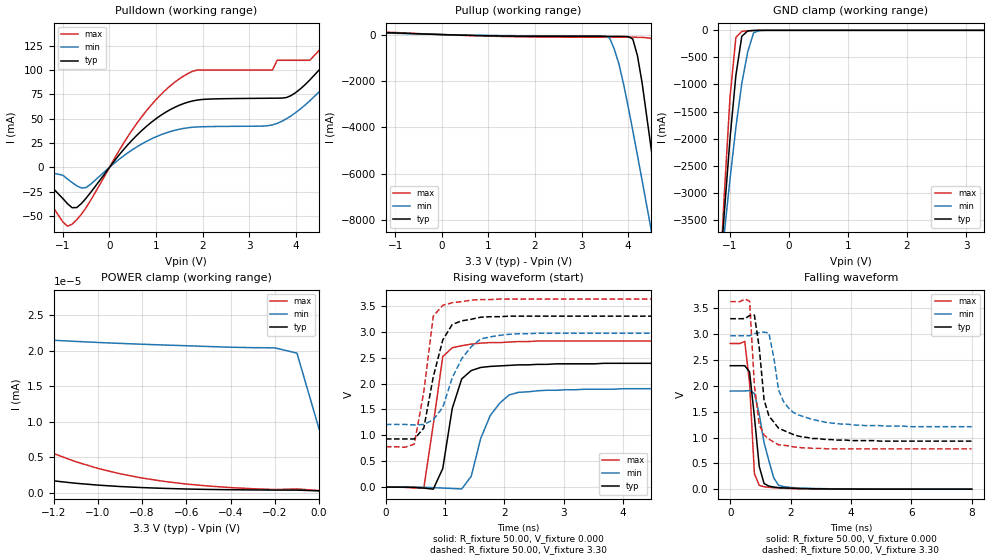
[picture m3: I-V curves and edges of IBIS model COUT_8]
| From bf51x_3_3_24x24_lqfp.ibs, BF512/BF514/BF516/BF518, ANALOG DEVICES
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|   Model prw0408swcdg_25
[Model]   COUT_8
Model_type   I/O
Polarity   Non-Inverting
Enable   Active-Low
Vinl =   0.40V
Vinh =   2.40V
Vmeas =   1.20V
Cref =  50.00pF
Rref =   1.00M
Vref =  0.000V
C_comp   4.77pF   4.29pF   5.25pF
[Temperature Range]   25.00   0.12k   -40.00
[Voltage Range]   3.30V   2.97V   3.63V
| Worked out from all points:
|   slope of the pulldown table from 0 to 0.495 V, typ, clamps not added: 17.4 ohm
|   slope of the pullup table from 0 to 0.495 V, typ, clamps not added: 17.2 ohm
|   GND clamp passes 1 mA (typ) near -0.53 V on its own axis
|   POWER clamp passes 1 mA (typ) near -3.01 V on its own axis
|   rising waveform, R_fixture 50.00, V_fixture 0.000: 20-80 % time 254ps typ, 376ps min, 212ps max; typ from 0 V to 2.39 V
|   rising waveform, R_fixture 50.00, V_fixture 3.30: 20-80 % time 274ps typ, 410ps min, 211ps max; typ from 0.93 V to 3.3 V
|   falling waveform, R_fixture 50.00, V_fixture 0.000: 20-80 % time 248ps typ, 430ps min, 177ps max; typ from 2.39 V to 0 V
|   falling waveform, R_fixture 50.00, V_fixture 3.30: 20-80 % time 363ps typ, 532ps min, 242ps max; typ from 3.3 V to 0.93 V
[Pulldown]
| voltage   I(typ)   I(min)   I(max)
-3.3V     0A         0A         0A
-1.7V     0A         0A         -10mA
-900mV    -37.3mA    -12mA      -60.3mA
-500mV    -31.56mA   -20.64mA   -41.25mA
700mV     38.11mA    24.26mA    52.44mA
1.7V      67.22mA    40.81mA    96.76mA
3.9V      73.78mA    52.99mA    110mA
4.3V      89.73mA    68.32mA    110mA
5.1V      140mA      110mA      170mA
5.5V      170mA      59.23mA    210mA
6.1V      130mA      60.45mA    270mA
6.6V      890mA      68.62mA    3.72A
[Pullup]
| voltage   I(typ)   I(min)   I(max)
-3.3V     29.2mA     8.62mA     61mA
-2.5V     150mA      14.34mA    190mA
3.6V      -78.87mA   -140mA     -110mA
3.8V      -79.53mA   -1.25A     -110mA
4.1V      -190mA     -4.14A     -110mA
4.2V      -910mA     -5.21A     -120mA
4.3V      -2.08A     -6.29A     -120mA
4.5V      -5A        -8.48A     -160mA
4.7V      -8.09A     -10.68A    -2.62A
4.9V      -11.24A    -12.9A     -6.81A
5.1V      -14.4A     -15.12A    -11.2A
6.6V      -38.32A    -31.88A    -44.78A
[GND_clamp]
| voltage   I(typ)   I(min)   I(max)
-3.3V     -38.23A    -28.13A    -52.07A
-1.2V     -4.92A     -4.84A     -5.19A
-1.1V     -3.42A     -3.78A     -3.1A
-1V       -2A        -2.75A     -1.24A
-900mV    -830mA     -1.79A     -130mA
-800mV    -110mA     -980mA     -19.35mA
-700mV    -10.17mA   -400mA     -9.85mA
-600mV    -2.61mA    -45.18mA   -3.52mA
-500mV    -460uA     -4.57mA    -550uA
3.3V      270pA      20.45nA    210pA
[POWER_clamp]
| voltage   I(typ)   I(min)   I(max)
-3.3V     770mA      230nA      7.85A
-2.6V     27.1nA     32.41nA    9.27mA
-2.3V     16.42nA    27.61nA    47.25nA
-2V       9.44nA     24.65nA    26.73nA
-1.7V     5.12nA     22.9nA     15.66nA
-1.5V     3.3nA      22.17nA    10.58nA
-1.3V     2.1nA      21.67nA    6.92nA
-1.1V     1.34nA     21.32nA    4.38nA
-800mV    730pA      20.92nA    2.08nA
-200mV    380pA      20.41nA    460pA
-100mV    370pA      19.67nA    540pA
0V        270pA      8.98nA     310pA
[Ramp]
| variable   typ   min   max
dV/dt_r   1.43/0.22n   1.14/0.32n   1.69/0.15n
dV/dt_f   1.42/0.31n   1.06/0.48n   1.71/0.20n
R_load = 50.00
[Rising Waveform]
R_fixture = 50.00
V_fixture = 0.000
V_fixture_min = 0.000
V_fixture_max = 0.000
L_fixture = 0.000H
C_fixture = 0.000F
| time   V(typ)   V(min)   V(max)
0s        0V         0V         0V
640ps     -17.92mV   -2.16mV    -17.85mV
800ps     -39.03mV   -10.67mV   1.21V
960ps     360mV      -17.53mV   2.52V
1.12ns    1.52V      -25.78mV   2.69V
1.28ns    2.09V      -34.99mV   2.73V
1.44ns    2.25V      210mV      2.76V
1.76ns    2.33V      1.38V      2.79V
2.24ns    2.36V      1.83V      2.81V
8ns       2.39V      1.9V       2.82V
[Rising Waveform]
R_fixture = 50.00
V_fixture = 3.30
V_fixture_min = 2.97
V_fixture_max = 3.63
L_fixture = 0.000H
C_fixture = 0.000F
| time   V(typ)   V(min)   V(max)
0s        930mV      1.21V      780mV
480ps     930mV      1.2V       830mV
640ps     1.14V      1.21V      1.84V
800ps     2.13V      1.3V       3.3V
960ps     2.84V      1.54V      3.51V
1.12ns    3.14V      2.11V      3.56V
1.28ns    3.21V      2.48V      3.58V
1.6ns     3.28V      2.86V      3.62V
1.76ns    3.29V      2.9V       3.62V
8ns       3.3V       2.97V      3.63V
[Falling Waveform]
R_fixture = 50.00
V_fixture = 0.000
V_fixture_min = 0.000
V_fixture_max = 0.000
L_fixture = 0.000H
C_fixture = 0.000F
| time   V(typ)   V(min)   V(max)
0s        2.39V      1.9V       2.82V
480ps     2.39V      1.9V       2.86V
640ps     2.27V      1.91V      2.05V
800ps     1.4V       1.85V      300mV
960ps     440mV      1.45V      74.04mV
1.12ns    110mV      900mV      46.09mV
1.44ns    40.99mV    220mV      28.16mV
1.6ns     29.84mV    75.56mV    21.47mV
2.72ns    7.89mV     13.37mV    4.34mV
8ns       10.85uV    120uV      15.04uV
[Falling Waveform]
R_fixture = 50.00
V_fixture = 3.30
V_fixture_min = 2.97
V_fixture_max = 3.63
L_fixture = 0.000H
C_fixture = 0.000F
| time   V(typ)   V(min)   V(max)
0s        3.3V       2.97V      3.63V
640ps     3.36V      2.97V      3.64V
800ps     3.37V      3.01V      2.01V
960ps     2.74V      3.03V      1.25V
1.12ns    1.73V      3.04V      1.05V
1.28ns    1.42V      3.02V      970mV
1.44ns    1.3V       2.56V      910mV
1.6ns     1.18V      1.92V      860mV
2.24ns    1.03V      1.44V      810mV
8ns       930mV      1.21V      780mV
